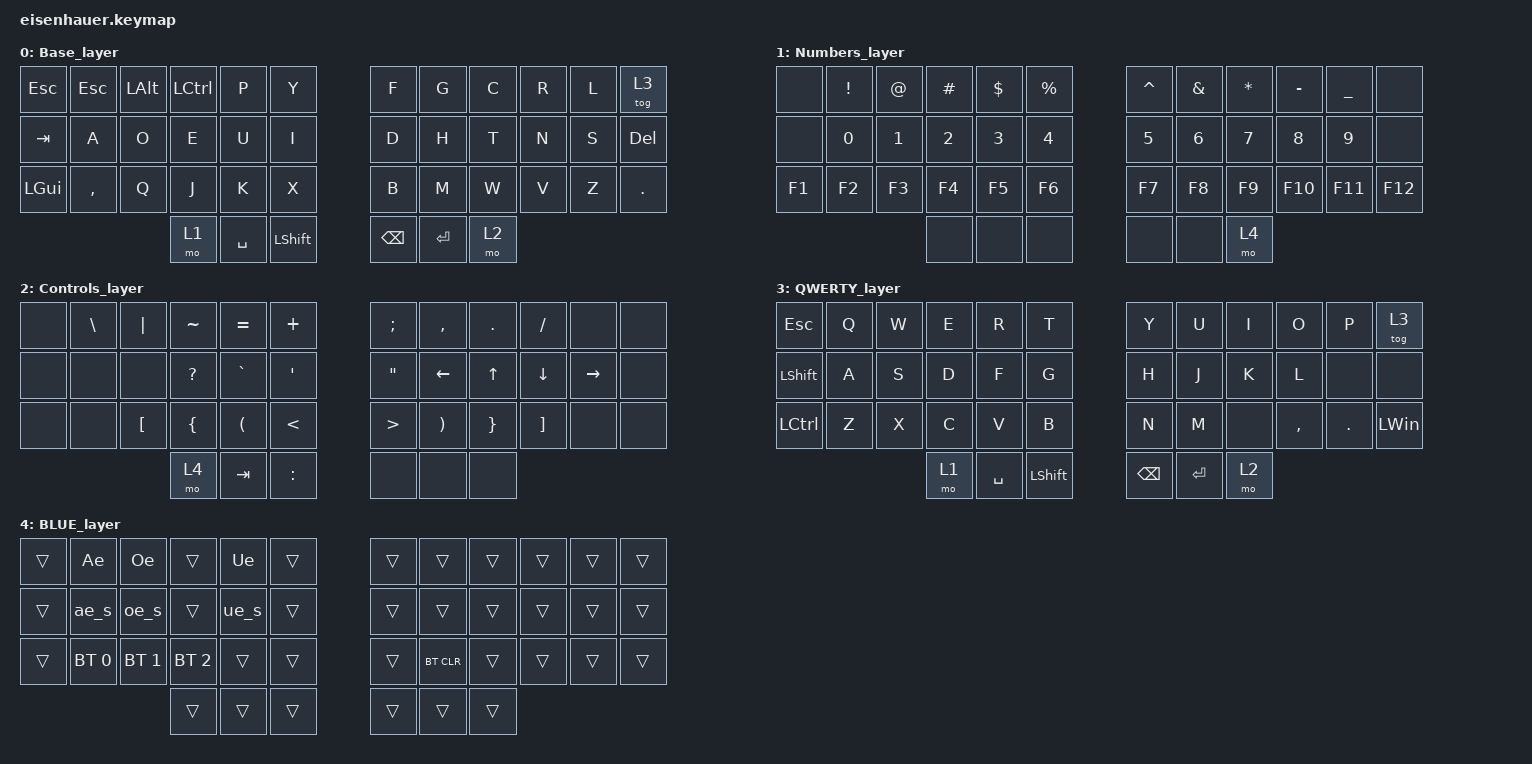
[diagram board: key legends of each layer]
#include <behaviors.dtsi>
#include <dt-bindings/zmk/bt.h>
#include <dt-bindings/zmk/keys.h>

#define BASE 0
#define NUMBERS 1
#define CONTROLS 2
#define QWERTY 3
#define BLUE 4

/ {
    combos { compatible = "zmk,combos"; };

    chosen { zmk,battery = &vbatt; };

    vbatt: vbatt {
        compatible = "zmk,battery-nrf-vddh";
        label = "VBATT";
    };

    macros {
        Ae: Ae {
            compatible = "zmk,behavior-macro";
            #binding-cells = <0>;
            bindings =
              <&macro_press &kp LSHFT &kp LCTRL>,
              <&macro_tap &kp U>,
              <&macro_release &kp LSHFT &kp LCTRL>,
              <&macro_tap &kp N0 &kp N0 &kp C &kp N4 &kp SPC>;
        };
        ae_s: ae_s {
            compatible = "zmk,behavior-macro";
            #binding-cells = <0>;
            bindings =
              <&macro_press &kp LSHFT &kp LCTRL>,
              <&macro_tap &kp U>,
              <&macro_release &kp LSHFT &kp LCTRL>,
              <&macro_tap &kp N0 &kp N0 &kp E &kp N4 &kp SPC>;
        };
        Ue: Ue {
            compatible = "zmk,behavior-macro";
            #binding-cells = <0>;
            bindings =
              <&macro_press &kp LSHFT &kp LCTRL>,
              <&macro_tap &kp U>,
              <&macro_release &kp LSHFT &kp LCTRL>,
              <&macro_tap &kp N0 &kp N0 &kp D &kp C &kp SPC>;
        };
        ue_s: ue_s {
            compatible = "zmk,behavior-macro";
            #binding-cells = <0>;
            bindings =
              <&macro_press &kp LSHFT &kp LCTRL>,
              <&macro_tap &kp U>,
              <&macro_release &kp LSHFT &kp LCTRL>,
              <&macro_tap &kp N0 &kp N0 &kp F &kp C &kp SPC>;
        };
        Oe: Oe {
            compatible = "zmk,behavior-macro";
            #binding-cells = <0>;
            bindings =
              <&macro_press &kp LSHFT &kp LCTRL>,
              <&macro_tap &kp U>,
              <&macro_release &kp LSHFT &kp LCTRL>,
              <&macro_tap &kp N0 &kp N0 &kp D &kp N6 &kp SPC>;
        };
        oe_s: oe_s {
            compatible = "zmk,behavior-macro";
            #binding-cells = <0>;
            bindings =
              <&macro_press &kp LSHFT &kp LCTRL>,
              <&macro_tap &kp U>,
              <&macro_release &kp LSHFT &kp LCTRL>,
              <&macro_tap &kp N0 &kp N0 &kp F &kp N6 &kp SPC>;
        };
    };

    keymap {
        compatible = "zmk,keymap";

        Base_layer {
            bindings = <
&kp ESCAPE    &kp ESCAPE  &kp LEFT_ALT  &kp LEFT_CONTROL  &kp P      &kp Y             &kp F          &kp G       &kp C  &kp R  &kp L  &tog 3
&kp TAB       &kp A       &kp O         &kp E             &kp U      &kp I             &kp D          &kp H       &kp T  &kp N  &kp S  &kp DEL
&kp LEFT_GUI  &kp COMMA   &kp Q         &kp J             &kp K      &kp X             &kp B          &kp M       &kp W  &kp V  &kp Z  &kp DOT
                                        &mo 1             &kp SPACE  &kp LEFT_SHIFT    &kp BACKSPACE  &kp RETURN  &mo 2
            >;
        };

        Numbers_layer {
            bindings = <
&none   &kp EXCLAMATION  &kp AT_SIGN   &kp HASH      &kp DOLLAR    &kp PERCENT     &kp CARET     &kp AMPERSAND  &kp ASTERISK  &kp MINUS     &kp UNDER     &none
&none   &kp NUMBER_0     &kp NUMBER_1  &kp NUMBER_2  &kp NUMBER_3  &kp NUMBER_4    &kp NUMBER_5  &kp NUMBER_6   &kp NUMBER_7  &kp NUMBER_8  &kp NUMBER_9  &none
&kp F1  &kp F2           &kp F3        &kp F4        &kp F5        &kp F6          &kp F7        &kp F8         &kp F9        &kp F10       &kp F11       &kp F12
                                       &none         &none         &none           &none         &none          &mo 4
            >;
        };

        Controls_layer {
            bindings = <
&none  &kp BACKSLASH  &kp PIPE          &kp TILDE       &kp EQUAL             &kp PLUS            &kp SEMICOLON      &kp COMMA              &kp DOT          &kp SLASH          &none      &none
&none  &none          &none             &kp QUESTION    &kp GRAVE             &kp SINGLE_QUOTE    &kp DOUBLE_QUOTES  &kp LEFT               &kp UP           &kp DOWN           &kp RIGHT  &none
&none  &none          &kp LEFT_BRACKET  &kp LEFT_BRACE  &kp LEFT_PARENTHESIS  &kp LT              &kp GT             &kp RIGHT_PARENTHESIS  &kp RIGHT_BRACE  &kp RIGHT_BRACKET  &none      &none
                                        &mo 4           &kp TAB               &kp COLON           &none              &none                  &none
            >;
        };

        QWERTY_layer {
            bindings = <
&kp ESCAPE        &kp Q  &kp W  &kp E  &kp R      &kp T             &kp Y          &kp U      &kp I  &kp O      &kp P    &tog 3
&kp LEFT_SHIFT    &kp A  &kp S  &kp D  &kp F      &kp G             &kp H          &kp J      &kp K  &kp L      &none    &none
&kp LEFT_CONTROL  &kp Z  &kp X  &kp C  &kp V      &kp B             &kp N          &kp M      &none  &kp COMMA  &kp DOT  &kp LEFT_WIN
                                &mo 1  &kp SPACE  &kp LEFT_SHIFT    &kp BACKSPACE  &kp ENTER  &mo 2
            >;
        };

        BLUE_layer {
            bindings = <
&trans  &Ae           &Oe           &trans        &Ue     &trans    &trans  &trans      &trans  &trans  &trans  &trans
&trans  &ae_s         &oe_s         &trans        &ue_s   &trans    &trans  &trans      &trans  &trans  &trans  &trans
&trans  &bt BT_SEL 0  &bt BT_SEL 1  &bt BT_SEL 2  &trans  &trans    &trans  &bt BT_CLR  &trans  &trans  &trans  &trans
                                    &trans        &trans  &trans    &trans  &trans      &trans
            >;
        };
    };
};
